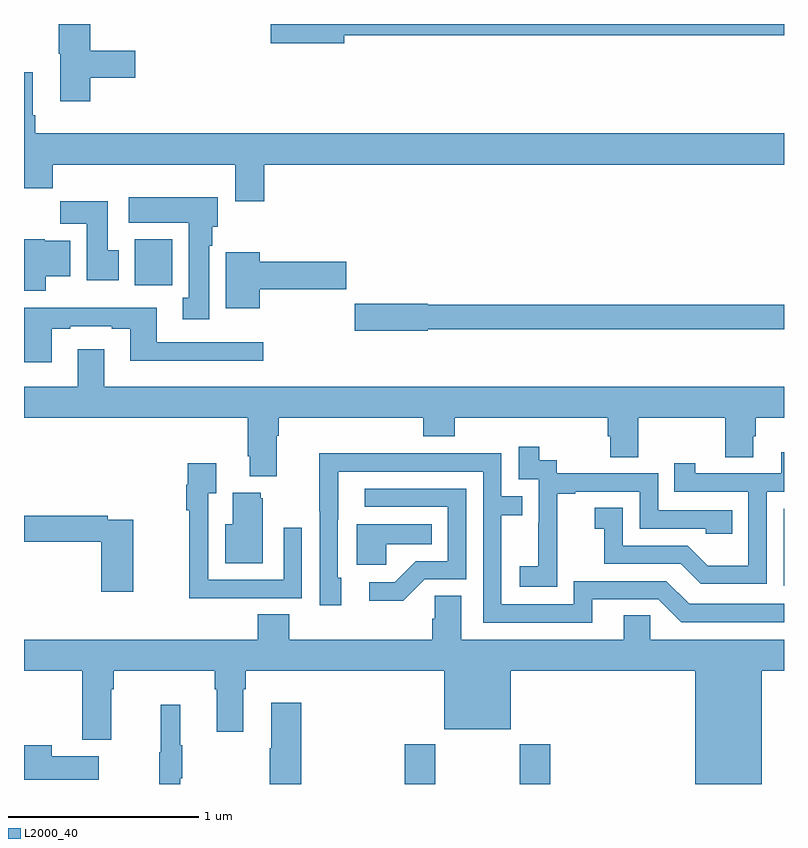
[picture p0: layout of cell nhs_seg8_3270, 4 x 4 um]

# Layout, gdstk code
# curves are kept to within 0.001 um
import gdstk
lib = gdstk.Library(unit=1e-6, precision=1e-09)
def R(c, l, rs):  # rectangles x0, y0, x1, y1
    for r in rs: c.add(gdstk.rectangle(r[:2], r[2:], *l))
def P(c, l, *ps):  # polygons
    for p in ps: c.add(gdstk.Polygon(p, *l))
L2000_40 = (2000, 40)

nhs_seg8_3270 = lib.new_cell('nhs_seg8_3270')
R(nhs_seg8_3270, L2000_40, [(315.005,1119.9,315.165,1120.108), (315.61,1119.9,315.77,1120.108), (316.998,1120.944,317,1121.349), (313.583,1122.524,313.78,1122.766)])
P(nhs_seg8_3270, L2000_40, [(314.686,1123.84),(317,1123.84),(317,1123.9),(314.298,1123.9),(314.298,1123.798),(314.686,1123.798)],
  [(313.349,1123.618),(313.585,1123.618),(313.585,1123.76),(313.349,1123.76),(313.349,1123.9),(313.183,1123.9),(313.183,1123.743),(313.19,1123.743),(313.19,1123.494),(313.349,1123.494)],
  [(314.264,1123.16),(317,1123.16),(317,1123.324),(313.058,1123.324),(313.058,1123.42),(313.045,1123.42),(313.045,1123.645),(313,1123.645),(313,1123.036),(313.151,1123.036),(313.151,1123.16),(314.111,1123.16),(314.111,1122.966),(314.264,1122.966)],
  [(313.975,1122.734),(313.99,1122.734),(313.99,1122.834),(314.02,1122.834),(314.02,1122.988),(313.551,1122.988),(313.551,1122.854),(313.868,1122.854),(313.868,1122.458),(313.835,1122.458),(313.835,1122.345),(313.975,1122.345)],
  [(313.498,1122.708),(313.441,1122.708),(313.441,1122.967),(313.192,1122.967),(313.192,1122.848),(313.331,1122.848),(313.331,1122.552),(313.498,1122.552)],
  [(313.114,1122.572),(313.243,1122.572),(313.243,1122.76),(313.11,1122.76),(313.11,1122.766),(313,1122.766),(313,1122.497),(313.114,1122.497)],
  [(314.242,1122.503),(314.695,1122.503),(314.695,1122.65),(314.242,1122.65),(314.242,1122.7),(314.063,1122.7),(314.063,1122.404),(314.242,1122.404)],
  [(315.126,1122.294),(317,1122.294),(317,1122.422),(315.126,1122.422),(315.126,1122.428),(314.742,1122.428),(314.742,1122.286),(315.126,1122.286)],
  [(313.147,1122.297),(313.243,1122.297),(313.243,1122.309),(313.463,1122.309),(313.463,1122.297),(313.559,1122.297),(313.559,1122.128),(314.26,1122.128),(314.26,1122.225),(313.699,1122.225),(313.699,1122.406),(313,1122.406),(313,1122.12),(313.147,1122.12)],
  [(314.329,1121.732),(314.342,1121.732),(314.342,1121.828),(315.101,1121.828),(315.101,1121.729),(315.266,1121.729),(315.266,1121.828),(316.073,1121.828),(316.073,1121.73),(316.085,1121.73),(316.085,1121.62),(316.233,1121.62),(316.233,1121.828),(316.69,1121.828),(316.69,1121.62),(316.837,1121.62),(316.837,1121.73),(316.85,1121.73),(316.85,1121.828),(317,1121.828),(317,1121.992),(313.423,1121.992),(313.423,1122.187),(313.283,1122.187),(313.283,1121.992),(313,1121.992),(313,1121.828),(314.177,1121.828),(314.177,1121.626),(314.189,1121.626),(314.189,1121.519),(314.329,1121.519)],
  [(315.807,1121.143),(315.806,1121.143),(315.806,1121.427),(315.901,1121.427),(315.901,1121.439),(316.242,1121.439),(316.242,1121.244),(316.587,1121.244),(316.587,1121.217),(316.727,1121.217),(316.727,1121.34),(316.338,1121.34),(316.338,1121.535),(315.804,1121.535),(315.804,1121.604),(315.712,1121.604),(315.712,1121.674),(315.603,1121.674),(315.603,1121.505),(315.708,1121.505),(315.708,1121.276),(315.707,1121.276),(315.707,1121.047),(315.609,1121.047),(315.609,1120.937),(315.807,1120.937)],
  [(316.908,1121.439),(317,1121.439),(317,1121.647),(316.985,1121.647),(316.985,1121.535),(316.534,1121.535),(316.534,1121.587),(316.423,1121.587),(316.423,1121.439),(316.812,1121.439),(316.812,1121.05),(316.598,1121.05),(316.494,1121.154),(316.152,1121.154),(316.152,1121.353),(316.005,1121.353),(316.005,1121.243),(316.054,1121.243),(316.054,1121.058),(316.457,1121.058),(316.562,1120.953),(316.908,1120.953)],
  [(315.991,1120.872),(316.338,1120.872),(316.458,1120.752),(317,1120.752),(317,1120.848),(316.5,1120.848),(316.38,1120.968),(315.894,1120.968),(315.894,1120.845),(315.513,1120.845),(315.513,1121.314),(315.623,1121.314),(315.623,1121.415),(315.513,1121.415),(315.513,1121.64),(315.017,1121.64),(315.017,1121.642),(314.554,1121.642),(314.554,1121.335),(314.556,1121.335),(314.556,1120.842),(314.671,1120.842),(314.671,1120.986),(314.652,1120.986),(314.653,1121.544),(315.417,1121.544),(315.417,1120.749),(315.991,1120.749)],
  [(314.147,1120.878),(314.463,1120.878),(314.463,1121.248),(314.367,1121.248),(314.367,1120.974),(313.971,1120.974),(313.971,1121.431),(314.011,1121.431),(314.011,1121.587),(313.863,1121.587),(313.863,1121.474),(313.855,1121.474),(313.855,1121.342),(313.87,1121.342),(313.87,1120.877),(314.147,1120.877)],
  [(315.108,1120.977),(315.327,1120.977),(315.327,1121.454),(314.793,1121.454),(314.793,1121.358),(315.231,1121.358),(315.231,1121.073),(315.062,1121.073),(314.951,1120.962),(314.817,1120.962),(314.817,1120.865),(314.995,1120.865)],
  [(314.257,1121.403),(314.246,1121.403),(314.246,1121.434),(314.099,1121.434),(314.099,1121.266),(314.06,1121.266),(314.06,1121.063),(314.257,1121.063)],
  [(313.576,1121.292),(313.442,1121.292),(313.442,1121.312),(313,1121.312),(313,1121.176),(313.406,1121.176),(313.406,1120.911),(313.576,1120.911)],
  [(314.907,1121.162),(315.146,1121.162),(315.146,1121.266),(314.75,1121.266),(314.75,1121.054),(314.907,1121.054)],
  [(316.532,1119.9),(316.882,1119.9),(316.882,1120.496),(317,1120.496),(317,1120.66),(316.296,1120.66),(316.296,1120.787),(316.157,1120.787),(316.157,1120.66),(315.301,1120.66),(315.301,1120.892),(315.162,1120.892),(315.162,1120.769),(315.149,1120.769),(315.149,1120.66),(314.396,1120.66),(314.396,1120.793),(314.231,1120.793),(314.231,1120.66),(313,1120.66),(313,1120.496),(313.307,1120.496),(313.307,1120.134),(313.459,1120.134),(313.459,1120.4),(313.472,1120.4),(313.472,1120.496),(314.003,1120.496),(314.003,1120.4),(314.015,1120.4),(314.015,1120.176),(314.155,1120.176),(314.155,1120.4),(314.168,1120.4),(314.168,1120.496),(315.212,1120.496),(315.212,1120.187),(315.562,1120.187),(315.562,1120.496),(316.532,1120.496)],
  [(314.459,1120.327),(314.3,1120.327),(314.3,1120.088),(314.293,1120.088),(314.293,1119.9),(314.459,1119.9)],
  [(313.823,1119.931),(313.834,1119.931),(313.834,1120.105),(313.823,1120.105),(313.823,1120.318),(313.72,1120.318),(313.72,1120.068),(313.713,1120.068),(313.713,1119.9),(313.823,1119.9)],
  [(313.393,1120.045),(313.145,1120.045),(313.145,1120.105),(313,1120.105),(313,1119.923),(313.393,1119.923)])

lib.write_gds('nhs_seg8_3270.gds')
